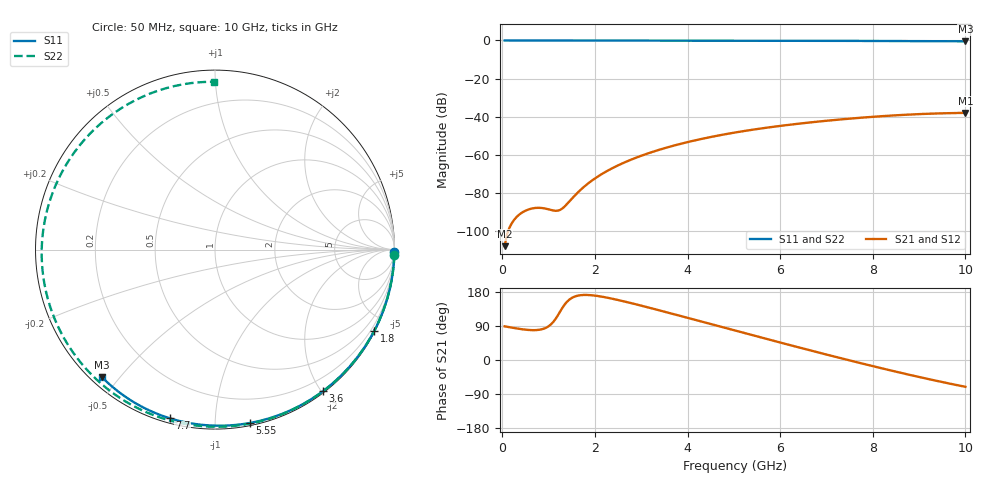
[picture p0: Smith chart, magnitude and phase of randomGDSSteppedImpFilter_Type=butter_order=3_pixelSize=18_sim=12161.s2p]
! freq	dB(S11)	phase(S11)	dB(S12)	phase(S12)
!  dB(S21)	phase(S21)	dB(S22)	phase(S22)
!S-par simulation data
#  GHz  S  DB  R 50
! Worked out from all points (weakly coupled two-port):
!   200 points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, 50 MHz to 10 GHz, reference 50 ohm
!   highest |S21| = -38.02 dB at 10 GHz (marker M1); lowest = -108.0 dB at 50 MHz (marker M2)
!   lowest |S11| = -0.4 dB at 10 GHz (marker M3), VSWR 38.90, Z = 1.55 - j22.5 ohm
!   |S11| at or under -10 dB: nowhere
!   |S22| runs from -0.6 to 0.0 dB; largest |S21 - S12| = 0
!   S11 on the Smith chart (normalised r, x): 50 MHz: open; 1.8 GHz: 0.04, -4.17; 3.6 GHz: 0.02, -2.02; 5.55 GHz: 0.02, -1.22; 7.7 GHz: 0.02, -0.77; 10 GHz: 0.03, -0.45
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0.05  -0.00 -0.8  -108.00 88.9  -108.00 88.9  -0.00 -1.6
0.4  -0.01 -6.1  -90.79 81.6  -90.79 81.6  -0.02 -12.9
0.8  -0.02 -12.1  -87.87 79.8  -87.87 79.8  -0.03 -25.6
1.6  -0.03 -24.0  -80.56 168.8  -80.56 168.8  -0.06 -50.3
1.75  -0.03 -26.2  -77.13 171.6  -77.13 171.6  -0.07 -54.8
1.8  -0.03 -27.0  -76.10 171.7  -76.10 171.7  -0.07 -56.3
2.1  -0.04 -31.3  -70.87 168.1  -70.87 168.1  -0.08 -65.1
2.45  -0.05 -36.4  -66.16 159.7  -66.16 159.7  -0.09 -75.1
2.9  -0.06 -42.9  -61.44 146.5  -61.44 146.5  -0.11 -87.6
3.4  -0.07 -49.9  -57.31 130.8  -57.31 130.8  -0.13 -101.0
3.6  -0.07 -52.7  -55.89 124.3  -55.89 124.3  -0.13 -106.2
4.3  -0.09 -62.3  -51.71 101.4  -51.71 101.4  -0.16 -123.9
5.05  -0.11 -72.2  -48.23 76.9  -48.23 76.9  -0.20 -142.1
5.55  -0.13 -78.7  -46.33 60.6  -46.33 60.6  -0.23 -154.1
6.15  -0.15 -86.3  -44.40 41.3  -44.40 41.3  -0.27 -168.3
6.7  -0.18 -93.1  -42.89 23.8  -42.89 23.8  -0.31 178.6
7.2  -0.21 -99.1  -41.70 8.2  -41.70 8.2  -0.35 166.5
7.7  -0.24 -105.1  -40.65 -7.2  -40.65 -7.2  -0.39 154.1
8.35  -0.29 -112.7  -39.51 -26.5  -39.51 -26.5  -0.45 137.3
9.25  -0.37 -123.0  -38.43 -51.6  -38.43 -51.6  -0.52 112.5
9.65  -0.41 -127.6  -38.16 -62.0  -38.16 -62.0  -0.56 100.9
10  -0.45 -131.5  -38.02 -70.8  -38.02 -70.8  -0.58 90.5
